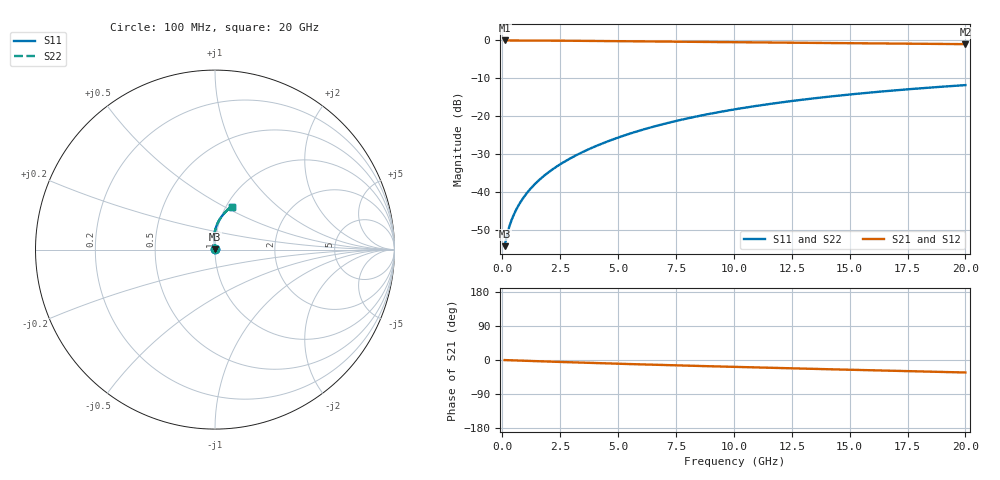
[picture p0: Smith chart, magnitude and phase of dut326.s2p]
! Touchstone file exported from HFSS 2024.1.0
!  File:  C:/UserFiles/LocalFiles/RDL_TSV_Batchsim/temp_RDL_top_326_1779607179.aedt
!  Generated:  03:22:01 PM May 24, 2026
!  Design:  RDL_top
!  Project:  temp_RDL_top_326_1779607179
!  Setup:  Setup1
!  Solution:  Sweep
! Variables:
!  dtsv = 10.80580581um
!  hbump = 3um
!  htsv = 56.1um
!  ldown = 100um
!  lrdl = 504.98um
!  p = 40
!  p1 = 50.39um
!  rhole = 1um
!  t = 450um
!  tdown = 3.915915916um
!  trdl = 4.6um
!  wdown = 15.38538539um
!  wrdl = 28.82um
# GHz S MA R 50.000000
! Terminal data exported
! Port[1] = Box2_T1
! Port[2] = Box2_T2
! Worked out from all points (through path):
!   200 points, 100 MHz to 20 GHz, reference 50 ohm
!   highest |S21| = -0.01 dB at 100 MHz (marker M1); lowest = -1.0 dB at 20 GHz (marker M2)
!   group delay of S21, straight-line fit = 4.49 ps
!   lowest |S11| = -54.4 dB at 100 MHz (marker M3), VSWR 1.00, Z = 50.2 + j0.107 ohm
!   |S11| at or under -10 dB: start of sweep to end of sweep
!   |S22| runs from -54.4 to -11.8 dB; largest |S21 - S12| = 2.6e-15
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0.1  0.001906 34.2  0.9984 -0.2  0.9984 -0.2  0.001906 34.2
! Gamma 0 0 0 0
! Port Impedance 50 0 50 0
0.2  0.002662 50.1  0.9982 -0.4  0.9982 -0.4  0.002662 50.1
0.3  0.003444 58.2  0.998 -0.6  0.998 -0.6  0.003444 58.2
0.4  0.004217 63.6  0.9979 -0.9  0.9979 -0.9  0.004218 63.6
0.5  0.004994 67.7  0.9977 -1.1  0.9977 -1.1  0.004994 67.7
0.6  0.005782 71.0  0.9976 -1.3  0.9976 -1.3  0.005782 71.0
0.8  0.0074 75.9  0.9972 -1.7  0.9972 -1.7  0.0074 75.9
1.1  0.009925 80.8  0.9966 -2.3  0.9966 -2.3  0.009925 80.8
1.6  0.01436 85.9  0.9952 -3.3  0.9952 -3.3  0.01436 85.9
2.1  0.01906 89.0  0.9934 -4.3  0.9934 -4.3  0.01906 89.0
2.7  0.02509 91.5  0.9907 -5.5  0.9907 -5.5  0.02508 91.5
3.5  0.03377 93.5  0.9865 -7.1  0.9865 -7.1  0.03376 93.5
4.2  0.04196 94.3  0.9824 -8.4  0.9824 -8.4  0.04195 94.3
5  0.05194 94.5  0.9774 -9.8  0.9774 -9.8  0.05192 94.5
5.9  0.0638 94.0  0.9716 -11.4  0.9716 -11.4  0.06378 94.0
6.8  0.07617 93.1  0.9658 -12.9  0.9658 -12.9  0.07615 93.1
8.4  0.09895 90.7  0.9558 -15.6  0.9558 -15.6  0.09892 90.7
10.1  0.1236 87.6  0.9456 -18.3  0.9456 -18.3  0.1235 87.6
11.7  0.1466 84.5  0.9365 -20.8  0.9365 -20.8  0.1466 84.5
13.4  0.1707 81.1  0.9272 -23.3  0.9272 -23.3  0.1706 81.1
16.7  0.2153 74.8  0.9096 -28.2  0.9096 -28.2  0.2152 74.8
20  0.2566 68.9  0.8925 -33.0  0.8925 -33.0  0.2565 68.9
